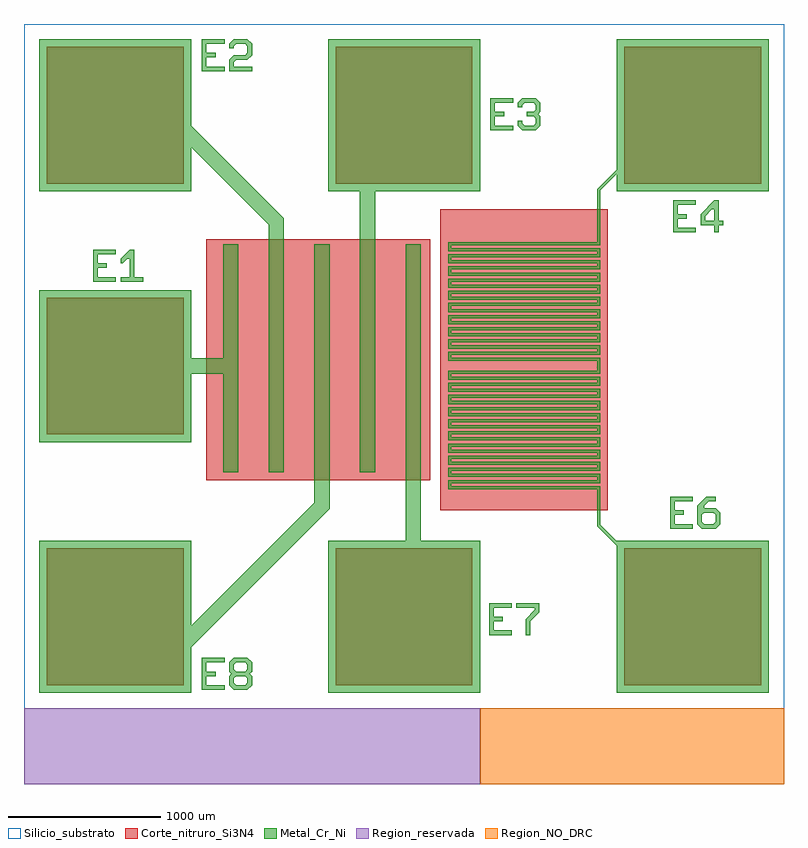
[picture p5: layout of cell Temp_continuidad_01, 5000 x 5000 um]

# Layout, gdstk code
import gdstk
lib = gdstk.Library(unit=1e-6, precision=1e-06)
def R(c, l, rs):  # rectangles x0, y0, x1, y1
    for r in rs: c.add(gdstk.rectangle(r[:2], r[2:], *l))
def A(c, l, x, y, w, h, nx, ny, dx, dy):  # array of equal rectangles
    R(c, l, [(x+i*dx, y+j*dy, x+i*dx+w, y+j*dy+h) for i in range(nx) for j in range(ny)])
def P(c, l, *ps):  # polygons
    for p in ps: c.add(gdstk.Polygon(p, *l))
Silicio_substrato = (1, 1)
Region_reservada = (1, 2)
Region_NO_DRC = (1, 3)
Metal_Cr_Ni = (2, 0)
Corte_nitruro_Si3N4 = (3, 0)

chip_plantilla5x5mm_1 = lib.new_cell('Chip_Plantilla5x5mm$1')
R(chip_plantilla5x5mm_1, Silicio_substrato, [(0,0,5000,5000)])
R(chip_plantilla5x5mm_1, Region_reservada, [(0,0,3000,500)])
R(chip_plantilla5x5mm_1, Region_NO_DRC, [(3000,0,5000,500)])

text_4 = lib.new_cell('TEXT$4')
P(text_4, Metal_Cr_Ni, [(0,0),(0,210),(150,210),(150,180),(30,180),(30,120),(90,120),(90,90),(30,90),(30,30),(150,30),(150,0)],
  [(180,0),(180,30),(240,30),(240,150),(225,150),(195,120),(180,120),(180,150),(240,210),(270,210),(270,30),(330,30),(330,0)])

text_5 = lib.new_cell('TEXT$5')
P(text_5, Metal_Cr_Ni, [(0,0),(0,210),(150,210),(150,180),(30,180),(30,120),(90,120),(90,90),(30,90),(30,30),(150,30),(150,0)],
  [(180,0),(180,75),(210,105),(285,105),(300,120),(300,165),(285,180),(225,180),(210,165),(210,150),(180,150),(180,180),(210,210),(300,210),(330,180),(330,105),(300,75),(225,75),(210,60),(210,30),(330,30),(330,0)])

text_6 = lib.new_cell('TEXT$6')
P(text_6, Metal_Cr_Ni, [(0,0),(0,210),(150,210),(150,180),(30,180),(30,120),(90,120),(90,90),(30,90),(30,30),(150,30),(150,0)],
  [(210,0),(180,30),(180,60),(210,60),(210,45),(225,30),(285,30),(300,45),(300,75),(285,90),(240,90),(240,120),(285,120),(300,135),(300,165),(285,180),(225,180),(210,165),(210,150),(180,150),(180,180),(210,210),(300,210),(330,180),(330,120),(315,105),(330,90),(330,30),(300,0)])

text_7 = lib.new_cell('TEXT$7')
P(text_7, Metal_Cr_Ni, [(0,0),(0,210),(150,210),(150,180),(30,180),(30,120),(90,120),(90,90),(30,90),(30,30),(150,30),(150,0)],
  [(270,0),(270,45),(180,45),(180,75),(270,75),(270,150),(255,150),(210,105),(210,75),(180,75),(180,120),(270,210),(300,210),(300,75),(330,75),(330,45),(300,45),(300,0)])

text_9 = lib.new_cell('TEXT$9')
P(text_9, Metal_Cr_Ni, [(0,0),(0,210),(150,210),(150,180),(30,180),(30,120),(90,120),(90,90),(30,90),(30,30),(150,30),(150,0)],
  [(210,0),(180,30),(180,150),(240,210),(300,210),(300,180),(255,180),(225,150),(225,135),(300,135),(330,105),(225,105),(210,90),(210,45),(225,30),(285,30),(300,45),(300,90),(285,105),(330,105),(330,30),(300,0)])

text_10 = lib.new_cell('TEXT$10')
P(text_10, Metal_Cr_Ni, [(0,0),(0,210),(150,210),(150,180),(30,180),(30,120),(90,120),(90,90),(30,90),(30,30),(150,30),(150,0)],
  [(240,0),(240,105),(300,165),(300,180),(180,180),(180,210),(330,210),(330,150),(270,90),(270,0)])

text_11 = lib.new_cell('TEXT$11')
P(text_11, Metal_Cr_Ni, [(0,0),(0,210),(150,210),(150,180),(30,180),(30,120),(90,120),(90,90),(30,90),(30,30),(150,30),(150,0)],
  [(210,0),(180,30),(180,90),(195,105),(180,120),(180,180),(210,210),(300,210),(330,180),(225,180),(210,165),(210,135),(225,120),(285,120),(300,135),(300,165),(285,180),(330,180),(330,120),(315,105),(330,90),(225,90),(210,75),(210,45),(225,30),(285,30),(300,45),(300,75),(285,90),(330,90),(330,30),(300,0)])

temp_continuidad_01 = lib.new_cell('Temp_continuidad_01')
A(temp_continuidad_01, Metal_Cr_Ni, 100, 600, 1000, 1000, 3, 2, 1900, 3300)
A(temp_continuidad_01, Metal_Cr_Ni, 1310, 2050, 100, 1500, 5, 1, 300, 0)
R(temp_continuidad_01, Metal_Cr_Ni, [(100,2250,1100,3250), (920,2700,1360,2800), (1015,3900,1100,3985)])
P(temp_continuidad_01, Metal_Cr_Ni, [(3770,1908),(3770,1940),(2790,1940),(2790,2000),(3770,2000),(3770,2020),(2790,2020),(2790,2080),(3770,2080),(3770,2100),(2790,2100),(2790,2160),(3770,2160),(3770,2180),(2790,2180),(2790,2240),(3770,2240),(3770,2260),(2790,2260),(2790,2320),(3770,2320),(3770,2340),(2790,2340),(2790,2400),(3770,2400),(3770,2420),(2790,2420),(2790,2480),(3770,2480),(3770,2500),(2790,2500),(2790,2560),(3770,2560),(3770,2580),(2790,2580),(2790,2640),(3770,2640),(3770,2660),(2790,2660),(2790,2720),(3770,2720),(3770,2743),(3768,2743),(3770,2745),(3770,2785),(2790,2785),(2790,2845),(3770,2845),(3770,2865),(2790,2865),(2790,2925),(3770,2925),(3770,2945),(2790,2945),(2790,3005),(3770,3005),(3770,3025),(2790,3025),(2790,3085),(3770,3085),(3770,3105),(2790,3105),(2790,3165),(3770,3165),(3770,3185),(2790,3185),(2790,3245),(3770,3245),(3770,3265),(2790,3265),(2790,3325),(3770,3325),(3770,3345),(2790,3345),(2790,3405),(3770,3405),(3770,3425),(2790,3425),(2790,3485),(3770,3485),(3770,3505),(2790,3505),(2790,3565),(3770,3565),(3770,3595),(3790,3595),(3790,3545),(2810,3545),(2810,3525),(3790,3525),(3790,3465),(2810,3465),(2810,3445),(3790,3445),(3790,3385),(2810,3385),(2810,3365),(3790,3365),(3790,3305),(2810,3305),(2810,3285),(3790,3285),(3790,3225),(2810,3225),(2810,3205),(3790,3205),(3790,3145),(2810,3145),(2810,3125),(3790,3125),(3790,3065),(2810,3065),(2810,3045),(3790,3045),(3790,2985),(2810,2985),(2810,2965),(3790,2965),(3790,2905),(2810,2905),(2810,2885),(3790,2885),(3790,2825),(2810,2825),(2810,2805),(3790,2805),(3790,2700),(2810,2700),(2810,2680),(3790,2680),(3790,2620),(2810,2620),(2810,2600),(3790,2600),(3790,2540),(2810,2540),(2810,2520),(3790,2520),(3790,2460),(2810,2460),(2810,2440),(3790,2440),(3790,2380),(2810,2380),(2810,2360),(3790,2360),(3790,2300),(2810,2300),(2810,2280),(3790,2280),(3790,2220),(2810,2220),(2810,2200),(3790,2200),(3790,2140),(2810,2140),(2810,2120),(3790,2120),(3790,2060),(2810,2060),(2810,2040),(3790,2040),(3790,1980),(2810,1980),(2810,1960),(3790,1960),(3790,1908)])
A(temp_continuidad_01, Corte_nitruro_Si3N4, 150, 650, 900, 900, 3, 2, 1900, 3300)
R(temp_continuidad_01, Corte_nitruro_Si3N4, [(2739,1801,3839,3781), (1200,2000,2672,3585), (150,2300,1050,3200)])
temp_continuidad_01.add(gdstk.FlexPath([(1660,3550),(1660,3700),(900,4460)], 100, ends="flush", simple_path=True, layer=2, datatype=0))  # Metal_Cr_Ni
temp_continuidad_01.add(gdstk.FlexPath([(2260,3550),(2260,3960)], 100, ends="flush", simple_path=True, layer=2, datatype=0))  # Metal_Cr_Ni
temp_continuidad_01.add(gdstk.FlexPath([(2560,2050),(2560,1280)], 100, ends="flush", simple_path=True, layer=2, datatype=0))  # Metal_Cr_Ni
temp_continuidad_01.add(gdstk.FlexPath([(3780,1910),(3780,1700),(4305,1175)], 20, ends="flush", simple_path=True, layer=2, datatype=0))  # Metal_Cr_Ni
temp_continuidad_01.add(gdstk.FlexPath([(3780,3590),(3780,3910),(4125,4255)], 20, ends="flush", simple_path=True, layer=2, datatype=0))  # Metal_Cr_Ni
temp_continuidad_01.add(gdstk.FlexPath([(1960,2050),(1960,1830),(865,735)], 100, ends="flush", simple_path=True, layer=2, datatype=0))  # Metal_Cr_Ni
temp_continuidad_01.add(gdstk.Reference(chip_plantilla5x5mm_1, (0,0)))
temp_continuidad_01.add(gdstk.Reference(text_4, (455,3305)))
temp_continuidad_01.add(gdstk.Reference(text_5, (1170,4690)))
temp_continuidad_01.add(gdstk.Reference(text_6, (3068,4302)))
temp_continuidad_01.add(gdstk.Reference(text_7, (4271,3630)))
temp_continuidad_01.add(gdstk.Reference(text_9, (4250,1680)))
temp_continuidad_01.add(gdstk.Reference(text_10, (3060,980)))
temp_continuidad_01.add(gdstk.Reference(text_11, (1170,620)))

lib.write_gds('Temp_continuidad_01.gds')
